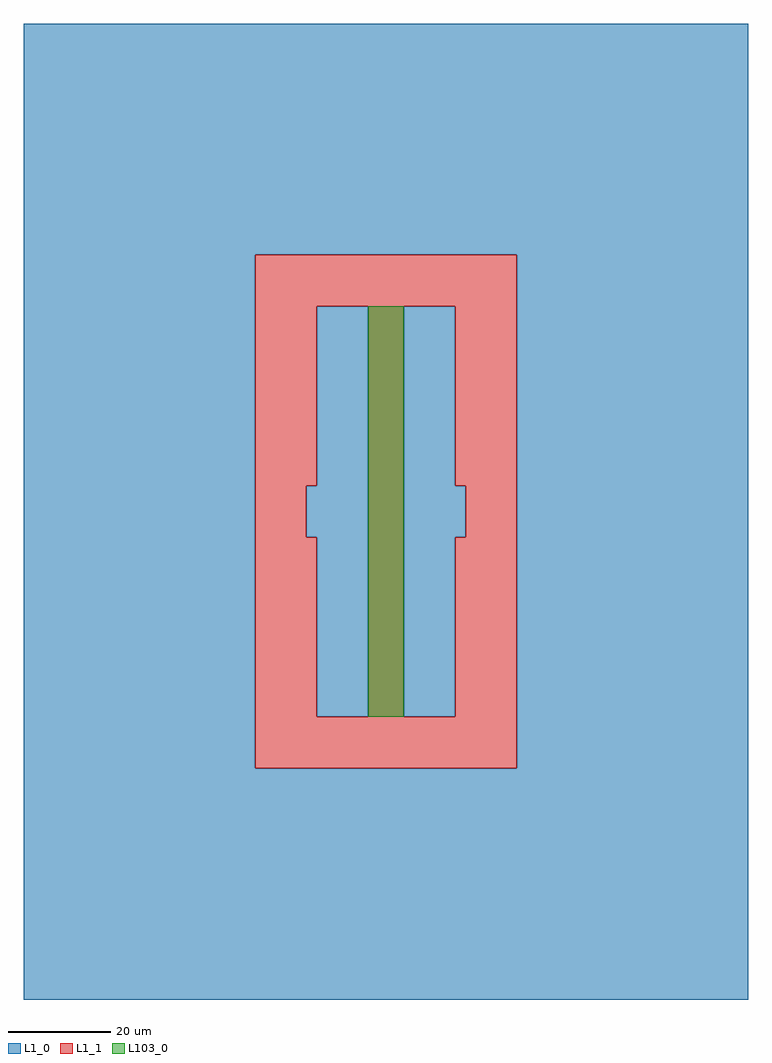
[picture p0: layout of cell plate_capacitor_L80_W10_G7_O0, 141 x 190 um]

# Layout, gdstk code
from math import pi, radians
import gdstk
lib = gdstk.Library(unit=1e-6, precision=1e-09)
def R(c, l, rs):  # rectangles x0, y0, x1, y1
    for r in rs: c.add(gdstk.rectangle(r[:2], r[2:], *l))
def P(c, l, *ps):  # polygons
    for p in ps: c.add(gdstk.Polygon(p, *l))
L1_0 = (1, 0)
L1_1 = (1, 1)
L103_0 = (103, 0)

plate_capacitor_single_l = lib.new_cell('plate_capacitor_single_L80_W10_LMM1_DRAW_ELM1_ETCH_EBM2_CScpw')
P(plate_capacitor_single_l, L1_0, [(-5,-40),(-5,-5),(-7,-5),(-7,5),(-5,5),(-5,40),(5,40),(5,-40)])
P(plate_capacitor_single_l, L1_1, [(-7,-42),(-7,-5),(-5,-5),(-5,-40),(5,-40),(5,40),(-5,40),(-5,5),(-7,5),(-7,42),(7,42),(7,-42)])

plate_capacitor_l80_w10_ = lib.new_cell('plate_capacitor_L80_W10_G7_O0')
P(plate_capacitor_l80_w10_, L1_0, [(-62,-95),(-62,50),(-17,50),(-17,-50),(34,-50),(34,50),(-62,50),(-62,95),(79,95),(79,-95)])
P(plate_capacitor_l80_w10_, L1_1, [(-17,-50),(-17,40),(-5,40),(-5,5),(-7,5),(-7,-5),(-5,-5),(-5,-40),(5,-40),(5,40),(12,40),(12,-40),(22,-40),(22,-5),(24,-5),(24,5),(22,5),(22,40),(-17,40),(-17,50),(34,50),(34,-50)])
R(plate_capacitor_l80_w10_, L103_0, [(5,-40,12,40)])
plate_capacitor_l80_w10_.add(gdstk.Reference(plate_capacitor_single_l, (0,0)))
plate_capacitor_l80_w10_.add(gdstk.Reference(plate_capacitor_single_l, (17,0), rotation=pi))

lib.write_gds('plate_capacitor_L80_W10_G7_O0.gds')
